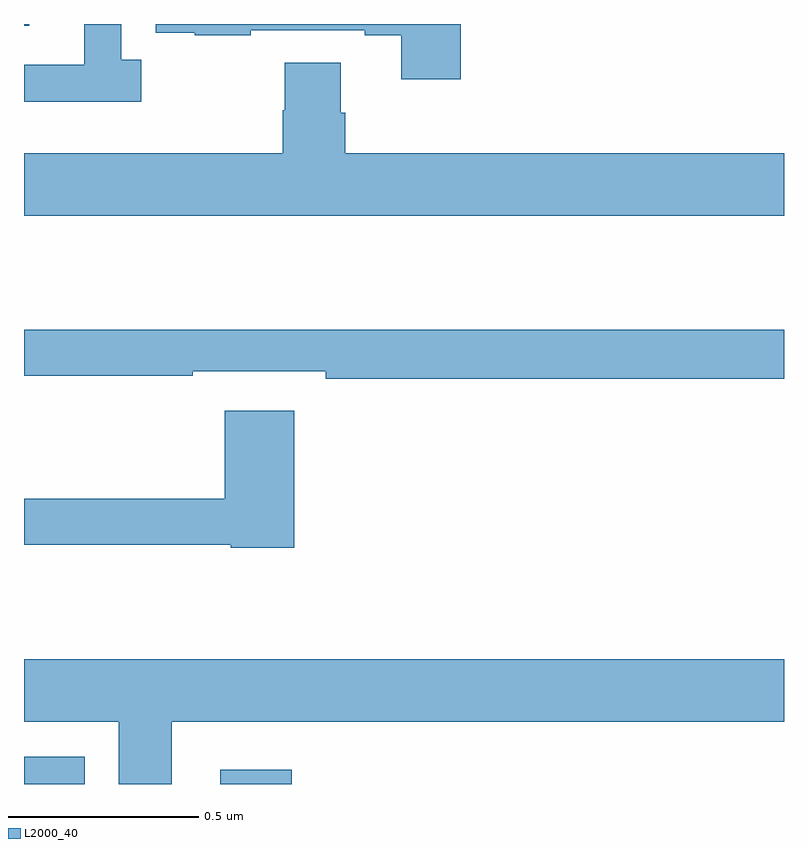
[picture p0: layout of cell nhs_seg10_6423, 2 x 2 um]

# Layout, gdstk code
import gdstk
lib = gdstk.Library(unit=1e-6, precision=1e-09)
def R(c, l, rs):  # rectangles x0, y0, x1, y1
    for r in rs: c.add(gdstk.rectangle(r[:2], r[2:], *l))
def P(c, l, *ps):  # polygons
    for p in ps: c.add(gdstk.Polygon(p, *l))
L2000_40 = (2000, 40)

nhs_seg10_6423 = lib.new_cell('nhs_seg10_6423')
R(nhs_seg10_6423, L2000_40, [(191,1285.5,191.16,1285.572), (191.517,1285.5,191.705,1285.537), (191,1287.495,191.014,1287.5)])
P(nhs_seg10_6423, L2000_40, [(192.149,1287.5),(191.347,1287.5),(191.347,1287.477),(191.449,1287.477),(191.449,1287.471),(191.597,1287.471),(191.597,1287.483),(191.897,1287.483),(191.897,1287.471),(191.993,1287.471),(191.993,1287.354),(192.149,1287.354)],
  [(191.308,1287.406),(191.256,1287.406),(191.256,1287.5),(191.159,1287.5),(191.159,1287.393),(191,1287.393),(191,1287.296),(191.308,1287.296)],
  [(193,1287.16),(191.846,1287.16),(191.846,1287.266),(191.833,1287.266),(191.833,1287.398),(191.686,1287.398),(191.686,1287.273),(191.681,1287.273),(191.681,1287.16),(191,1287.16),(191,1286.996),(193,1286.996)],
  [(193,1286.695),(191,1286.695),(191,1286.574),(191.444,1286.574),(191.444,1286.586),(191.794,1286.586),(191.794,1286.566),(193,1286.566)],
  [(191.711,1286.482),(191.528,1286.482),(191.528,1286.251),(191,1286.251),(191,1286.13),(191.544,1286.13),(191.544,1286.122),(191.711,1286.122)],
  [(191.389,1285.664),(193,1285.664),(193,1285.828),(191,1285.828),(191,1285.664),(191.249,1285.664),(191.249,1285.5),(191.389,1285.5)])

lib.write_gds('nhs_seg10_6423.gds')
